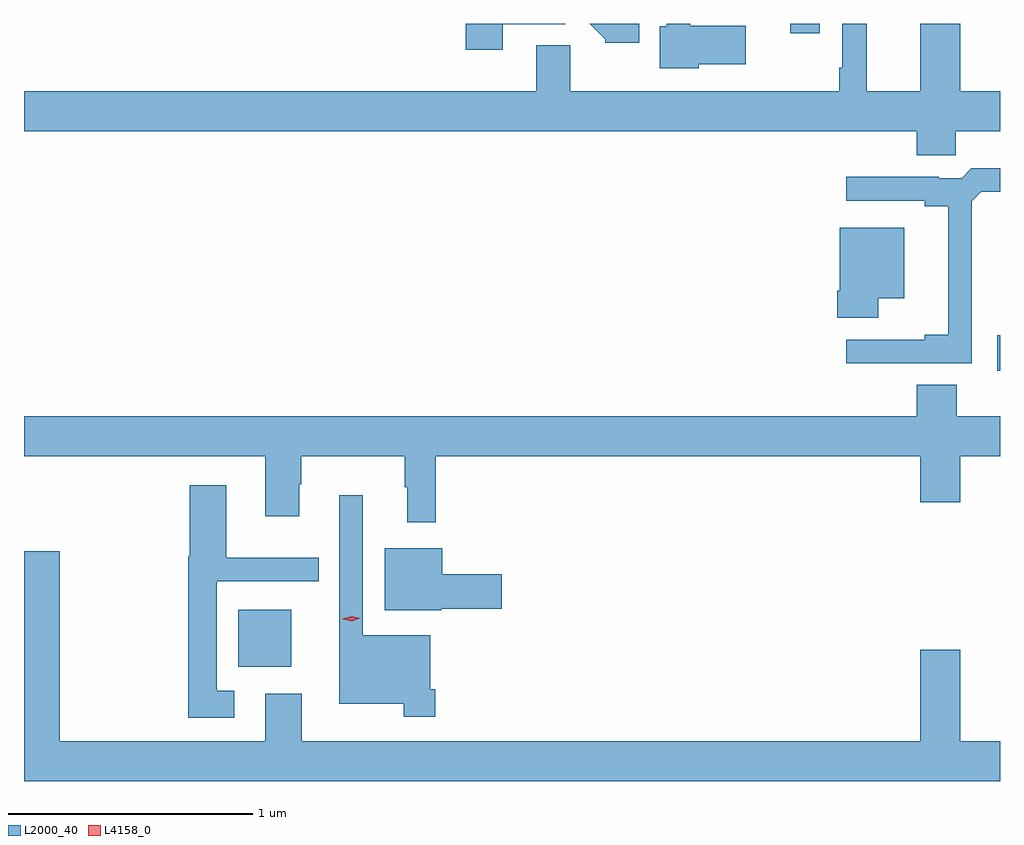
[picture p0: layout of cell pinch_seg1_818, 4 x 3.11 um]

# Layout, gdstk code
import gdstk
lib = gdstk.Library(unit=1e-6, precision=1e-09)
def R(c, l, rs):  # rectangles x0, y0, x1, y1
    for r in rs: c.add(gdstk.rectangle(r[:2], r[2:], *l))
def P(c, l, *ps):  # polygons
    for p in ps: c.add(gdstk.Polygon(p, *l))
L2000_40 = (2000, 40)
L4158_0 = (4158, 0)

pinch_seg1_818 = lib.new_cell('pinch_seg1_818')
R(pinch_seg1_818, L2000_40, [(497.876,552.203,498.094,552.436), (500.987,553.416,500.998,553.56), (500.138,554.799,500.26,554.838)])
P(pinch_seg1_818, L2000_40, [(499.519,554.838),(499.316,554.838),(499.38,554.774),(499.38,554.759),(499.519,554.759)],
  [(498.961,554.835),(499.217,554.835),(499.217,554.838),(498.809,554.838),(498.809,554.73),(498.961,554.73)],
  [(499.764,554.672),(499.957,554.672),(499.957,554.83),(499.728,554.83),(499.728,554.838),(499.632,554.838),(499.632,554.826),(499.604,554.826),(499.604,554.654),(499.764,554.654)],
  [(500.817,554.396),(500.998,554.396),(500.998,554.56),(500.836,554.56),(500.836,554.838),(500.672,554.838),(500.672,554.56),(500.451,554.56),(500.451,554.838),(500.352,554.838),(500.352,554.656),(500.34,554.656),(500.34,554.56),(499.237,554.56),(499.237,554.75),(499.097,554.75),(499.097,554.56),(496.998,554.56),(496.998,554.396),(500.657,554.396),(500.657,554.298),(500.817,554.298)],
  [(500.883,554.109),(500.922,554.148),(500.998,554.148),(500.998,554.245),(500.881,554.245),(500.841,554.205),(500.747,554.205),(500.747,554.21),(500.367,554.21),(500.367,554.112),(500.69,554.112),(500.69,554.09),(500.786,554.09),(500.786,553.562),(500.69,553.562),(500.69,553.542),(500.367,553.542),(500.367,553.446),(500.883,553.446)],
  [(500.5,553.712),(500.605,553.712),(500.605,554.002),(500.342,554.002),(500.342,553.744),(500.33,553.744),(500.33,553.632),(500.5,553.632)],
  [(500.657,553.357),(500.657,553.228),(496.998,553.228),(496.998,553.064),(497.987,553.064),(497.987,552.819),(498.127,552.819),(498.127,552.95),(498.135,552.95),(498.135,553.064),(498.558,553.064),(498.558,552.938),(498.569,552.938),(498.569,552.795),(498.686,552.795),(498.686,553.064),(500.672,553.064),(500.672,552.876),(500.836,552.876),(500.836,553.064),(500.998,553.064),(500.998,553.228),(500.821,553.228),(500.821,553.357)],
  [(497.86,552.103),(497.787,552.103),(497.787,552.552),(498.206,552.552),(498.206,552.649),(497.827,552.649),(497.827,552.946),(497.678,552.946),(497.678,552.655),(497.671,552.655),(497.671,551.994),(497.86,551.994)],
  [(498.683,552.109),(498.663,552.109),(498.663,552.331),(498.387,552.331),(498.387,552.904),(498.291,552.904),(498.291,552.427),(498.29,552.427),(498.29,552.05),(498.555,552.05),(498.555,551.997),(498.683,551.997)],
  [(498.708,552.44),(498.955,552.44),(498.955,552.582),(498.712,552.582),(498.712,552.688),(498.476,552.688),(498.476,552.434),(498.708,552.434)],
  [(500.998,551.896),(500.836,551.896),(500.836,552.271),(500.672,552.271),(500.672,551.896),(498.136,551.896),(498.136,552.091),(497.987,552.091),(497.987,551.896),(497.144,551.896),(497.144,552.676),(496.998,552.676),(496.998,551.732),(500.998,551.732)])
P(pinch_seg1_818, L4158_0, [(498.341,552.389),(498.305,552.397),(498.305,552.398),(498.305,552.398),(498.341,552.409),(498.377,552.401),(498.377,552.401),(498.377,552.4)])

lib.write_gds('pinch_seg1_818.gds')
